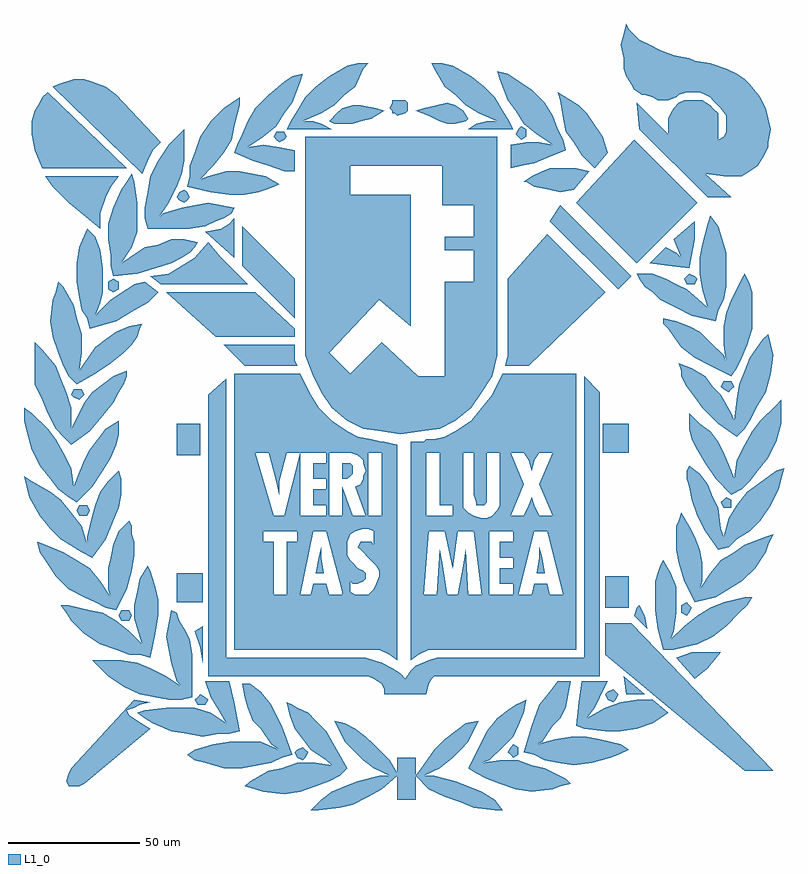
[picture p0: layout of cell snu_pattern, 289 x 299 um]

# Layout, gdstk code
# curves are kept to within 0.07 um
import gdstk
lib = gdstk.Library(unit=1e-6, precision=1e-06)
def R(c, l, rs):  # rectangles x0, y0, x1, y1
    for r in rs: c.add(gdstk.rectangle(r[:2], r[2:], *l))
def P(c, l, *ps):  # polygons
    for p in ps: c.add(gdstk.Polygon(p, *l))
L1_0 = (1, 0)

snu_pattern = lib.new_cell('snu_pattern')
R(snu_pattern, L1_0, [(76,-73,85,-61), (-87,-71,-77,-60), (-87,-15,-78,-3), (75,-14,85,-3)])
P(snu_pattern, L1_0, [(-119,-93),(-108,-93),(-102,-94),(-97,-96),(-91,-99),(-85,-103),(-87,-101),(-89,-94),(-91,-84),(-89,-74),(-87,-75),(-86,-78),(-84,-81),(-82,-85),(-81,-91),(-81,-107),(-85,-108),(-90,-108),(-95,-107),(-101,-106),(-107,-103),(-113,-99)],
  [(-94,47),(-98,43),(-103,40),(-110,36),(-120,33),(-121,37),(-123,40),(-124,45),(-125,51),(-125,58),(-124,64),(-121,71),(-118,68),(-116,63),(-115,56),(-115,47),(-116,43),(-118,38),(-112,44),(-103,50),(-99,51)],
  [(-63,-120),(-67,-121),(-71,-121),(-77,-122),(-89,-120),(-96,-117),(-102,-113),(-99,-112),(-91,-111),(-80,-111),(-74,-113),(-68,-117),(-74,-107),(-76,-101),(-67,-101),(-65,-109)],
  [(54,69),(76,47),(47,19),(38,19),(39,23),(39,26),(39,52)],
  [(-62,57),(-62,72),(-42,52),(-42,37)],
  [(-78,-110),(-79,-110),(-80,-108),(-79,-107),(-78,-106),(-76,-107),(-75,-108),(-76,-110)],
  [(-113,49),(-113,51),(-111,52),(-109,51),(-109,49),(-109,48),(-111,47),(-113,48)],
  [(-77,-94),(-78,-88),(-80,-82),(-77,-80),(-77,-94),(-77,-94)],
  [(-42,30),(-72,30),(-91,47),(-57,47),(-42,33)],
  [(-116,71),(-128,81),(-134,87),(-137,91),(-109,91),(-112,87),(-114,83),(-116,77),(-116,73)],
  [(-141,28),(-138,25),(-133,19),(-129,9),(-127,3),(-127,-5),(-122,5),(-119,9),(-111,15),(-106,17),(-106,15),(-107,12),(-109,9),(-111,5),(-115,0),(-120,-6),(-127,-11),(-133,-5),(-136,1),(-138,6),(-141,12)],
  [(-124,17),(-118,26),(-110,32),(-105,34),(-100,35),(-101,33),(-102,30),(-104,27),(-107,24),(-112,20),(-118,16),(-125,12),(-128,15),(-130,19),(-132,24),(-134,30),(-135,36),(-134,44),(-133,47),(-132,51),(-130,49),(-126,42),(-125,37),(-123,31),(-123,24)],
  [(-122,8),(-123,7),(-124,6),(-126,7),(-127,8),(-126,10),(-124,10),(-123,10)],
  [(-8,-106),(-8,-104),(-9,-102),(-12,-100),(-14,-99),(-75,-99),(-75,8),(-68,14),(-68,-92),(-15,-92),(-9,-94),(-5,-96),(-2,-98),(0,-100),(2,-97),(4,-95),(9,-93),(12,-92),(68,-92),(68,15),(74,9),(74,-99),(11,-99),(10,-100),(9,-102),(8,-106)],
  [(-104,92),(-103,89),(-102,81),(-102,70),(-104,64),(-108,58),(-99,64),(-94,65),(-89,67),(-84,67),(-79,66),(-80,64),(-82,62),(-85,60),(-89,58),(-95,56),(-102,54),(-111,53),(-112,57),(-112,61),(-113,67),(-113,73),(-111,79),(-108,86)],
  [(-32,-54),(-31,-60),(-34,-60),(-33,-54),(-32,-50),(-32,-50)],
  [(110,-100),(103,-92),(109,-90),(115,-90),(120,-90),(115,-96)],
  [(125,-2),(126,6),(127,12),(131,22),(136,29),(138,31),(140,23),(139,16),(137,9),(134,4),(131,-2),(129,-5),(126,-8),(119,-3),(113,3),(107,11),(105,15),(105,17),(104,20),(109,18),(114,15),(117,11),(120,8),(124,1)],
  [(98,-55),(101,-60),(103,-65),(103,-75),(102,-82),(101,-85),(106,-80),(111,-76),(116,-73),(121,-71),(129,-69),(132,-69),(130,-72),(122,-80),(117,-84),(111,-87),(106,-88),(102,-89),(98,-89),(96,-81),(95,-74),(95,-63),(97,-57)],
  [(125,-24),(126,-17),(129,-11),(132,-6),(135,-2),(143,6),(143,-3),(141,-10),(138,-16),(134,-21),(131,-25),(128,-28),(124,-30),(118,-24),(114,-18),(111,-13),(109,-9),(108,-5),(108,1),(112,-3),(116,-6),(119,-10),(121,-14),(124,-21)],
  [(108,-19),(112,-22),(115,-26),(117,-31),(119,-35),(120,-43),(121,-46),(123,-39),(126,-34),(130,-29),(134,-26),(141,-21),(144,-20),(142,-28),(139,-34),(135,-40),(131,-44),(126,-47),(123,-50),(119,-51),(114,-44),(111,-38),(109,-32),(108,-27),(107,-24),(107,-21)],
  [(122,-35),(121,-35),(120,-33),(121,-32),(122,-31),(124,-32),(124,-33),(124,-35)],
  [(109,-73),(108,-75),(107,-76),(105,-75),(105,-73),(105,-72),(107,-71),(108,-72)],
  [(-80,60),(-75,66),(-70,60),(-70,60),(-60,50),(-93,50),(-97,53),(-90,54),(-85,57),(-80,60)],
  [(51,-50),(52,-54),(53,-60),(50,-60),(51,-54),(51,-50)],
  [(-20,-21),(-20,-22),(-21,-23),(-22,-24),(-23,-24),(-24,-24),(-24,-18),(-23,-18),(-22,-18),(-21,-18),(-20,-19)],
  [(-65,75),(-65,60),(-76,70),(-70,71),(-67,73)],
  [(-69,27),(-42,27),(-42,24),(-42,21),(-41,19),(-61,19)],
  [(89,-72),(91,-76),(92,-81),(87,-76),(88,-73)],
  [(-97,-92),(-101,-91),(-105,-91),(-110,-89),(-116,-87),(-122,-83),(-127,-78),(-131,-72),(-128,-72),(-120,-74),(-115,-75),(-110,-78),(-105,-82),(-100,-87),(-101,-84),(-103,-77),(-103,-72),(-101,-62),(-98,-57),(-97,-59),(-95,-65),(-94,-70),(-94,-76),(-95,-83)],
  [(-98,71),(-99,75),(-99,79),(-97,91),(-94,97),(-90,103),(-84,109),(-84,97),(-85,92),(-87,87),(-90,81),(-94,75),(-92,77),(-85,79),(-75,81),(-65,79),(-66,77),(-69,75),(-72,74),(-76,72),(-82,71)],
  [(-45,-109),(-37,-113),(-30,-120),(-22,-134),(-25,-137),(-29,-139),(-34,-141),(-40,-143),(-46,-144),(-54,-143),(-57,-142),(-61,-141),(-59,-139),(-52,-135),(-47,-134),(-41,-132),(-34,-132),(-28,-133),(-30,-131),(-36,-127),(-42,-119),(-44,-114)],
  [(-110,-74),(-114,-73),(-128,-66),(-133,-61),(-139,-52),(-140,-48),(-137,-49),(-130,-52),(-120,-58),(-116,-63),(-112,-69),(-113,-66),(-113,-58),(-112,-54),(-111,-49),(-109,-44),(-105,-40),(-104,-42),(-104,-45),(-103,-48),(-103,-53),(-104,-59),(-106,-66)],
  [(-59,-102),(-55,-105),(-51,-110),(-47,-118),(-45,-123),(-43,-129),(-47,-130),(-51,-132),(-56,-133),(-62,-134),(-69,-134),(-76,-132),(-80,-131),(-83,-129),(-80,-127),(-73,-125),(-67,-124),(-55,-124),(-48,-127),(-51,-125),(-55,-119),(-58,-116),(-60,-111),(-61,-107),(-62,-102)],
  [(-106,-112),(-105,-114),(-102,-116),(-97,-119),(-122,-140),(-124,-141),(-128,-141),(-129,-139),(-128,-136),(-127,-134),(-103,-108),(-103,-109),(-103,-108),(-97,-109),(-101,-110),(-103,-111)],
  [(-119,-54),(-123,-52),(-126,-50),(-131,-47),(-135,-43),(-139,-38),(-143,-31),(-145,-23),(-142,-25),(-135,-29),(-131,-32),(-123,-42),(-121,-49),(-121,-46),(-118,-34),(-116,-29),(-113,-25),(-109,-21),(-108,-24),(-108,-30),(-109,-35),(-111,-40),(-114,-47)],
  [(-106,94),(-138,94),(-141,101),(-142,107),(-142,112),(-141,116),(-139,119),(-138,121),(-136,123)],
  [(-93,104),(-96,101),(-98,97),(-100,92),(-134,125),(-132,126),(-126,128),(-122,128),(-119,127),(-114,125),(-110,122)],
  [(-125,-36),(-124,-34),(-123,-34),(-121,-34),(-120,-36),(-121,-38),(-123,-38),(-124,-38)],
  [(-125,-33),(-128,-31),(-132,-28),(-135,-24),(-139,-19),(-142,-13),(-144,-6),(-145,-2),(-145,3),(-142,1),(-136,-5),(-133,-9),(-130,-14),(-127,-20),(-126,-27),(-125,-24),(-122,-17),(-120,-13),(-114,-5),(-109,-2),(-109,-7),(-110,-11),(-112,-16),(-115,-21),(-119,-27)],
  [(-109,-76),(-108,-74),(-107,-74),(-105,-74),(-104,-76),(-105,-78),(-107,-78),(-108,-78)],
  [(79,-109),(77,-108),(76,-106),(77,-105),(79,-104),(80,-105),(81,-106),(80,-108)],
  [(91,-106),(85,-106),(84,-106),(83,-99)],
  [(112,-66),(116,-60),(120,-55),(125,-52),(129,-49),(137,-46),(140,-45),(138,-49),(137,-52),(133,-58),(128,-63),(118,-69),(110,-71),(106,-63),(104,-56),(103,-51),(103,-42),(104,-40),(105,-37),(108,-42),(110,-46),(112,-51),(113,-56),(113,-63)],
  [(-37,-128),(-38,-130),(-39,-131),(-41,-130),(-42,-128),(-41,-127),(-39,-126),(-38,-127)],
  [(69,-115),(76,-111),(82,-109),(88,-108),(94,-108),(100,-113),(94,-117),(88,-119),(82,-120),(76,-120),(68,-119),(65,-118),(67,-101),(77,-101),(72,-111)],
  [(76,-79),(86,-79),(140,-135),(129,-135),(76,-91)],
  [(-3,-130),(4,-130),(4,-146),(-3,-146),(-3,-137),(-9,-142),(-14,-145),(-20,-148),(-25,-149),(-33,-150),(-36,-150),(-32,-146),(-28,-143),(-18,-139),(-10,-137),(-6,-137),(-12,-134),(-16,-131),(-23,-124),(-27,-116),(-23,-117),(-19,-119),(-15,-122),(-6,-131),(-3,-136)],
  [(7,-137),(11,-137),(19,-139),(29,-143),(34,-146),(37,-150),(34,-150),(26,-149),(21,-147),(15,-145),(9,-142),(4,-137),(6,-134),(11,-127),(15,-123),(23,-117),(28,-116),(24,-124),(18,-130),(13,-134)],
  [(29,-132),(36,-131),(43,-131),(48,-133),(53,-134),(61,-138),(63,-140),(59,-141),(56,-142),(48,-143),(42,-142),(36,-140),(31,-138),(27,-136),(24,-134),(31,-120),(35,-115),(39,-112),(42,-110),(46,-108),(45,-113),(43,-118),(41,-122),(32,-131)],
  [(50,-125),(57,-123),(63,-122),(69,-122),(74,-123),(82,-125),(85,-127),(81,-129),(78,-130),(71,-132),(64,-133),(58,-132),(53,-131),(49,-129),(45,-128),(48,-118),(51,-110),(55,-105),(58,-101),(63,-101),(61,-111),(59,-115),(56,-118),(52,-124)],
  [(39,-128),(40,-126),(41,-125),(43,-126),(43,-128),(43,-129),(41,-130),(40,-129)],
  [(118,36),(109,38),(97,44),(94,47),(91,49),(89,52),(88,54),(94,54),(99,52),(107,48),(113,43),(115,41),(113,48),(112,54),(112,60),(113,65),(115,73),(116,76),(119,72),(120,69),(122,62),(122,49),(121,44),(119,40)],
  [(64,86),(59,85),(55,86),(49,87),(46,89),(45,89),(48,91),(52,93),(55,94),(59,94),(65,94),(70,93)],
  [(108,50),(107,50),(106,52),(107,53),(108,54),(110,53),(111,52),(110,50)],
  [(124,15),(110,22),(105,26),(102,30),(100,33),(98,35),(98,37),(103,36),(108,34),(112,32),(121,23),(122,20),(121,27),(121,34),(122,39),(124,44),(129,54),(131,50),(132,47),(132,33),(130,27),(128,22),(126,18)],
  [(91,122),(90,122),(87,124),(86,126),(84,129),(83,132),(83,136),(82,141),(84,149),(85,147),(89,143),(97,139),(102,137),(108,136),(110,135),(116,134),(122,132),(126,130),(129,128),(131,126),(135,121),(137,117),(139,109),(138,104),(138,102),(136,98),(134,95),(128,91),(121,91),(114,92),(124,83),(115,83),(89,109),(88,119),(100,107),(100,113),(102,117),(104,119),(106,120),(113,120),(116,118),(119,115),(119,105),(121,106),(122,108),(122,114),(120,117),(116,121),(112,123),(107,123),(104,122),(103,121),(100,120),(96,120),(94,121)],
  [(120,11),(121,13),(123,13),(124,13),(125,11),(124,10),(123,9),(121,10)],
  [(72,94),(67,99),(64,104),(61,108),(60,113),(59,120),(58,123),(63,120),(66,118),(69,115),(75,106),(77,100)],
  [(93,58),(99,64),(103,62),(105,60),(102,67),(110,74),(110,67),(109,61),(108,56),(100,57)],
  [(-87,83),(-86,85),(-84,86),(-83,85),(-82,83),(-83,82),(-84,81),(-86,82)],
  [(111,81),(88,58),(65,81),(87,105)],
  [(59,80),(86,53),(81,48),(55,74)],
  [(-29,112),(-26,115),(-24,117),(-20,118),(-17,118),(-11,117),(-8,116),(-13,113),(-17,112),(-20,111),(-23,111),(-27,111)],
  [(56,103),(50,107),(45,111),(42,116),(39,120),(36,128),(35,131),(39,130),(48,124),(53,119),(56,114),(58,109),(60,105),(61,101),(54,98),(49,96),(44,95),(40,94),(40,103),(46,104),(51,104)],
  [(-42,93),(-46,93),(-58,97),(-65,100),(-64,103),(-62,107),(-60,112),(-57,117),(-52,122),(-46,127),(-43,129),(-39,130),(-40,127),(-43,119),(-46,115),(-49,110),(-54,106),(-60,102),(-54,103),(-42,101)],
  [(-48,88),(-50,87),(-56,85),(-61,84),(-67,84),(-74,85),(-83,87),(-82,91),(-82,95),(-80,100),(-78,106),(-74,112),(-69,117),(-63,121),(-63,118),(-65,110),(-66,105),(-69,100),(-73,95),(-78,90),(-75,91),(-68,93),(-63,93),(-53,91)],
  [(-50,106),(-49,108),(-48,108),(-46,108),(-45,106),(-46,105),(-48,104),(-49,105)],
  [(-44,109),(-45,109),(-43,113),(-41,116),(-38,121),(-34,125),(-29,129),(-22,133),(-18,134),(-14,134),(-16,132),(-19,125),(-23,122),(-27,118),(-32,115),(-39,112),(-35,112),(-32,111),(-28,109)],
  [(46,107),(46,106),(44,105),(43,106),(42,107),(43,109),(44,110),(46,109)],
  [(35,112),(28,115),(23,118),(19,122),(15,125),(11,132),(10,134),(14,134),(18,133),(25,129),(30,125),(34,121),(37,116),(39,113),(41,109),(24,109),(27,111),(31,112)],
  [(-3,114),(-4,115),(-5,115),(-5,116),(-6,117),(-5,119),(-5,120),(0,120),(1,119),(1,116),(0,115)],
  [(24,113),(23,112),(19,111),(16,111),(13,112),(9,114),(4,116),(7,117),(12,118),(16,119),(19,118),(22,116)],
  [(6,-6),(13,-5),(19,-2),(25,3),(33,15),(35,23),(35,106),(-38,106),(-38,24),(-29,24),(-10,44),(2,34),(2,84),(-21,84),(-21,95),(14,95),(14,80),(26,80),(26,68),(15,68),(15,63),(26,63),(26,51),(15,51),(15,15),(5,15),(-9,28),(-21,16),(-29,24),(-38,24),(-38,23),(-35,15),(-32,9),(-28,3),(-22,-2),(-16,-5),(-2,-7)],
  [(-3,-11),(-8,-10),(-9,-10),(-9,-38),(-20,-38),(-24,-27),(-24,-38),(-40,-38),(-40,-14),(-46,-38),(-50,-38),(-57,-14),(-52,-14),(-49,-25),(-48,-30),(-48,-25),(-45,-14),(-30,-14),(-30,-18),(-35,-18),(-35,-24),(-30,-24),(-30,-28),(-35,-28),(-35,-34),(-30,-34),(-30,-38),(-29,-38),(-29,-14),(-21,-14),(-18,-15),(-16,-17),(-16,-18),(-15,-21),(-16,-23),(-16,-24),(-17,-26),(-19,-27),(-15,-38),(-14,-38),(-14,-14),(-9,-14),(-9,-10),(-13,-9),(-18,-8),(-22,-6),(-28,-2),(-33,3),(-36,8),(-40,16),(-65,16),(-65,-89),(-10,-89),(-6,-91),(-3,-93),(-3,-61),(-10,-61),(-11,-64),(-12,-66),(-14,-68),(-19,-68),(-21,-67),(-24,-67),(-24,-68),(-29,-68),(-30,-64),(-35,-64),(-36,-68),(-50,-68),(-50,-48),(-54,-48),(-54,-44),(-41,-44),(-41,-48),(-45,-48),(-45,-68),(-40,-68),(-35,-44),(-30,-44),(-24,-67),(-21,-67),(-21,-63),(-20,-64),(-18,-64),(-16,-63),(-15,-62),(-15,-60),(-16,-59),(-18,-58),(-21,-55),(-22,-53),(-22,-48),(-21,-45),(-19,-44),(-16,-43),(-14,-43),(-12,-44),(-12,-49),(-13,-48),(-17,-48),(-18,-50),(-11,-57),(-10,-59),(-10,-61),(-3,-61)],
  [(5,-91),(9,-89),(65,-89),(65,-68),(55,-68),(54,-64),(49,-64),(48,-68),(24,-68),(23,-51),(20,-68),(16,-68),(14,-56),(13,-51),(12,-68),(7,-68),(9,-44),(15,-44),(18,-58),(20,-44),(26,-44),(29,-68),(32,-68),(32,-44),(41,-44),(41,-48),(36,-48),(36,-54),(41,-54),(41,-58),(36,-58),(36,-64),(41,-64),(41,-68),(43,-68),(49,-44),(54,-44),(60,-68),(65,-68),(65,16),(37,16),(33,8),(25,-2),(19,-6),(15,-8),(11,-9),(8,-9),(8,-14),(13,-14),(13,-34),(22,-34),(22,-14),(26,-14),(26,-30),(27,-33),(27,-34),(30,-34),(31,-33),(31,-14),(45,-14),(47,-17),(48,-21),(49,-17),(51,-14),(56,-14),(51,-26),(56,-38),(51,-38),(49,-34),(48,-31),(47,-34),(45,-38),(40,-38),(45,-26),(40,-14),(36,-14),(36,-34),(35,-36),(33,-38),(31,-39),(29,-39),(26,-38),(24,-37),(22,-35),(22,-34),(18,-34),(18,-38),(8,-38),(8,-9),(7,-10),(2,-10),(2,-93)])

lib.write_gds('snu_pattern.gds')
